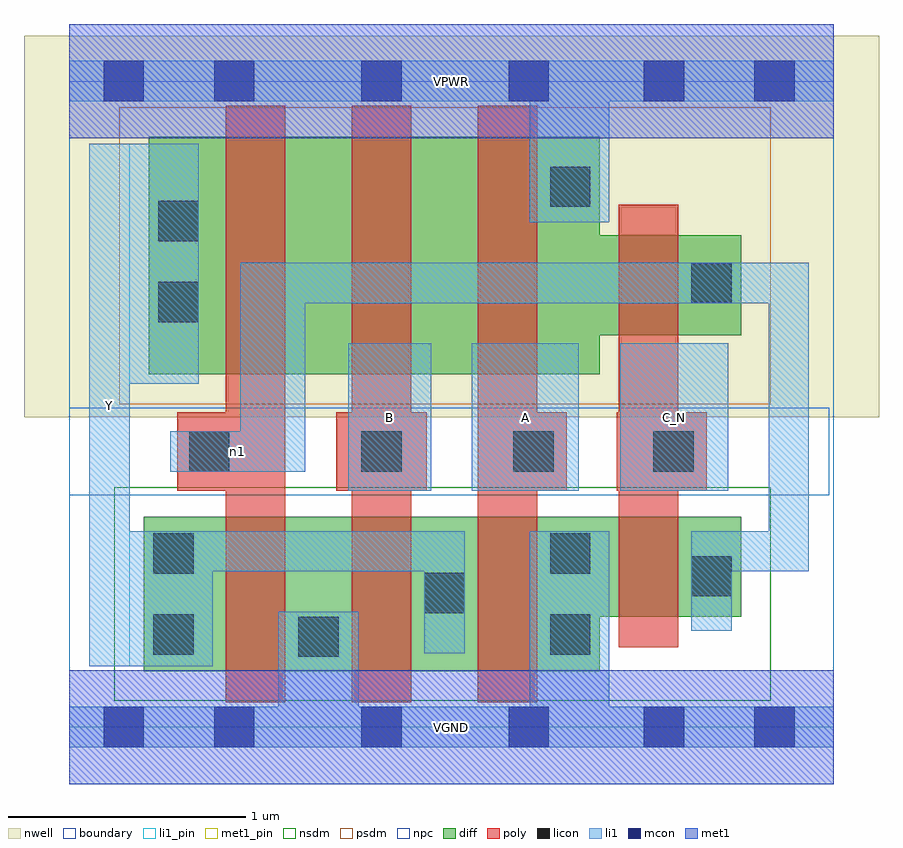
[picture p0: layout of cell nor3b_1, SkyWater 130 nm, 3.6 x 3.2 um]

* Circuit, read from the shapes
.subckt nor3b_1 A B C_N VGND VPWR Y n1
XM1 VGND n1 Y VSUBS sky130_fd_pr__nfet_01v8 w=0.65 l=0.25
XM2 Y B VGND VSUBS sky130_fd_pr__nfet_01v8 w=0.65 l=0.25
XM3 VGND A Y VSUBS sky130_fd_pr__nfet_01v8 w=0.65 l=0.25
XM4 n1 C_N VGND VSUBS sky130_fd_pr__nfet_01v8 w=0.42 l=0.25
XM5 n2 n1 Y n3 sky130_fd_pr__pfet_01v8 w=1 l=0.25
XM6 n4 B n2 n3 sky130_fd_pr__pfet_01v8 w=1 l=0.25
XM7 VPWR A n4 n3 sky130_fd_pr__pfet_01v8 w=1 l=0.25
XM8 n1 C_N VPWR n3 sky130_fd_pr__pfet_01v8 w=0.42 l=0.25
.ends

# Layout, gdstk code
import gdstk
lib = gdstk.Library(unit=1e-6, precision=1e-09)
def R(c, l, rs):  # rectangles x0, y0, x1, y1
    for r in rs: c.add(gdstk.rectangle(r[:2], r[2:], *l))
def A(c, l, x, y, w, h, nx, ny, dx, dy):  # array of equal rectangles
    R(c, l, [(x+i*dx, y+j*dy, x+i*dx+w, y+j*dy+h) for i in range(nx) for j in range(ny)])
nwell = (64, 20)
diff = (65, 20)
poly = (66, 20)
licon = (66, 44)
li1_pin = (67, 16)
li1 = (67, 20)
mcon = (67, 44)
met1_pin = (68, 16)
met1 = (68, 20)
nsdm = (93, 44)
psdm = (94, 20)
npc = (95, 20)
boundary = (235, 4)

nor3b_1 = lib.new_cell('nor3b_1')
R(nor3b_1, nwell, [(-0.19,1.305,3.41,2.91), (0,1.305,3.22,2.91)])
R(nor3b_1, diff, [(0.315,0.235,2.235,0.885), (0.315,0.465,2.83,0.885), (0.335,1.485,2.235,2.485), (0.335,1.65,2.83,2.07)])
A(nor3b_1, poly, 0.66, 0.105, 0.25, 2.51, 3, 1, 0.53, 0)
R(nor3b_1, poly, [(2.315,0.335,2.565,2.2), (0.455,0.995,0.91,1.325), (1.125,0.995,1.505,1.325), (1.72,0.995,2.095,1.325), (2.305,0.995,2.685,1.325)])
R(nor3b_1, licon, [(0.965,0.295,1.135,0.465), (0.355,0.305,0.525,0.475), (2.025,0.305,2.195,0.475), (1.495,0.48,1.665,0.65), (2.62,0.55,2.79,0.72), (0.355,0.645,0.525,0.815), (2.025,0.645,2.195,0.815), (0.505,1.075,0.675,1.245), (1.23,1.075,1.4,1.245), (1.87,1.075,2.04,1.245), (2.46,1.075,2.63,1.245), (0.375,1.705,0.545,1.875), (2.62,1.785,2.79,1.955), (0.375,2.045,0.545,2.215), (2.025,2.19,2.195,2.36)])
R(nor3b_1, li1_pin, [(0.085,0.255,0.255,2.455), (1.175,0.995,1.525,1.615), (1.695,0.995,2.145,1.615), (2.32,0.995,2.775,1.615)])
R(nor3b_1, li1, [(0,-0.085,3.22,0.085), (0.88,-0.085,1.22,0.485), (1.94,-0.085,2.275,0.825), (0.085,0.255,0.605,0.825), (0.085,0.255,0.255,2.455), (1.495,0.31,1.665,0.825), (2.62,0.405,2.79,0.825), (0.085,0.655,1.665,0.825), (2.62,0.655,3.115,0.825), (2.945,0.655,3.115,1.955), (1.175,0.995,1.525,1.615), (1.695,0.995,2.145,1.615), (2.32,0.995,2.775,1.615), (0.425,1.075,0.995,1.245), (0.72,1.075,0.995,1.955), (0.085,1.445,0.545,2.455), (0.72,1.785,3.115,1.955), (1.94,2.125,2.275,2.805), (0,2.635,3.22,2.805)])
A(nor3b_1, mcon, 0.61, -0.085, 0.17, 0.17, 3, 2, 0.62, 2.72)
R(nor3b_1, mcon, [(0.145,-0.085,0.315,0.085), (2.42,-0.085,2.59,0.085), (2.885,-0.085,3.055,0.085), (0.145,2.635,0.315,2.805), (2.42,2.635,2.59,2.805), (2.885,2.635,3.055,2.805)])
R(nor3b_1, met1_pin, [(0,-0.24,3.22,0.24), (0,2.48,3.22,2.96)])
R(nor3b_1, met1, [(0,-0.24,3.22,0.24), (0,2.48,3.22,2.96)])
R(nor3b_1, nsdm, [(0.19,0.11,2.955,1.01)])
R(nor3b_1, psdm, [(0.21,1.36,2.955,2.61)])
R(nor3b_1, npc, [(0,0.975,3.2,1.345)])
R(nor3b_1, boundary, [(0,0,3.22,2.72)])
nor3b_1.add(gdstk.Label('A', (1.92,1.305), layer=67, texttype=5))
nor3b_1.add(gdstk.Label('B', (1.35,1.305), layer=67, texttype=5))
nor3b_1.add(gdstk.Label('C_N', (2.547,1.305), layer=67, texttype=5))
nor3b_1.add(gdstk.Label('Y', (0.17,1.355), layer=67, texttype=5))
nor3b_1.add(gdstk.Label('n1', (0.71,1.16), layer=67, texttype=5))
nor3b_1.add(gdstk.Label('VPWR', (1.61,2.72), layer=68, texttype=5))
nor3b_1.add(gdstk.Label('VGND', (1.61,0), layer=68, texttype=5))
nor3b_1.add(gdstk.Label('A', (1.92,1.305), layer=67, texttype=16))
nor3b_1.add(gdstk.Label('B', (1.35,1.305), layer=67, texttype=16))
nor3b_1.add(gdstk.Label('C_N', (2.547,1.305), layer=67, texttype=16))
nor3b_1.add(gdstk.Label('Y', (0.17,1.355), layer=67, texttype=16))
nor3b_1.add(gdstk.Label('VPWR', (1.61,2.72), layer=68, texttype=16))
nor3b_1.add(gdstk.Label('VGND', (1.61,0), layer=68, texttype=16))

lib.write_gds('nor3b_1.gds')
